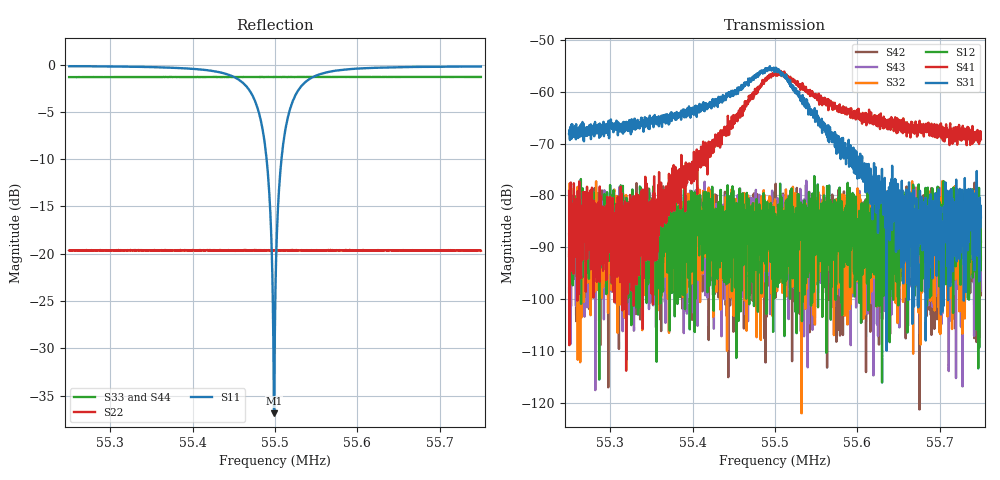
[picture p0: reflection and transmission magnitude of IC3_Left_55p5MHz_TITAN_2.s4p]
#  HZ  S  DB  R  50.00
! Rohde & Schwarz Vector Network Analyzer
! Rohde-Schwarz,ZNB8-4Port,1311601044102961,2.82
! Created: UTC 2/5/2019, 1:40:49 PM
! freq[Hz]  db:S11  ang:S11  db:S12  ang:S12  db:S13  ang:S13  db:S14  ang:S14
!  db:S21  ang:S21  db:S22  ang:S22  db:S23  ang:S23  db:S24  ang:S24
!  db:S31  ang:S31  db:S32  ang:S32  db:S33  ang:S33  db:S34  ang:S34
!  db:S41  ang:S41  db:S42  ang:S42  db:S43  ang:S43  db:S44  ang:S44
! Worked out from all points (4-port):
!   2001 points, 55.25 MHz to 55.75 MHz, reference 50 ohm
!   strongest paths, dB at 55.25 MHz, 55.375 MHz, 55.5 MHz, 55.625 MHz, 55.75 MHz:
!     S31: -68.2, -64.7, -55.7, -87.2, -84.2
!     S41: -79.2, -77.4, -56.6, -65.7, -69.2
!     S12: -98.7, -88.7, -88.8, -84.6, -89.0
!     S32: -91.7, -92.8, -80.8, -88.4, -92.4
!     S43: -87.5, -93.2, -83.7, -107.1, -98.4
!     S42: -91.0, -84.1, -83.9, -87.9, -99.3
!   lowest |S11| = -36.9 dB at 55.4988 MHz (marker M1), VSWR 1.03, Z = 49.3 - j1.22 ohm
!   |S11| at or under -10 dB: 55.48979 MHz to 55.50785 MHz (18.05 kHz wide, 0.0325 % of centre)
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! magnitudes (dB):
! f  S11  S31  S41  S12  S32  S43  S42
! 55.25 MHz  -0.2  -68.2  -79.2  -98.7  -91.7  -87.5  -91.0
! 55.3708 MHz  -0.3  -65.9  -78.0  -85.7  -83.9  -90.1  -84.7
! 55.4663 MHz  -2.4  -58.2  -62.3  -87.1  -91.1  -99.6  -84.8
! 55.4888 MHz  -9.2  -55.6  -57.3  -91.0  -92.8  -91.6  -90.9
! 55.4988 MHz  -36.9  -55.4  -56.2  -88.1  -81.6  -89.4  -87.0
! 55.5315 MHz  -2.3  -60.8  -59.1  -87.8  -88.0  -85.6  -106.3
! 55.75 MHz  -0.2  -84.2  -69.2  -89.0  -92.4  -98.4  -99.3
